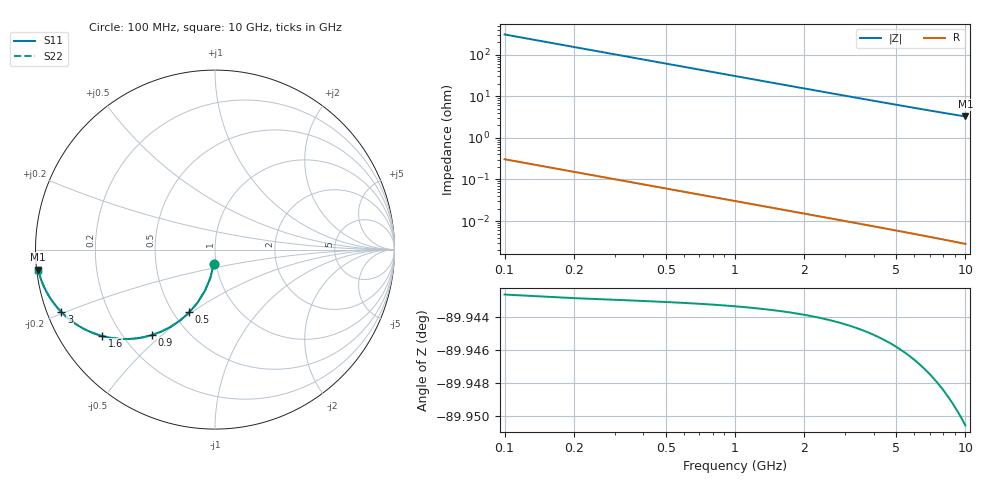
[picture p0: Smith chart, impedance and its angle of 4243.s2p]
# Hz S RI R 50.00
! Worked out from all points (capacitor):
!   100 points, 100 MHz to 10 GHz, reference 50 ohm
!   read as one part in shunt: C = 5.21 pF near 100 MHz
!   lowest |Z| = 3.27 ohm at 10 GHz (marker M1)
!   S11 on the Smith chart (normalised r, x): 100 MHz: 0.97, -0.16; 500 MHz: 0.60, -0.49; 900 MHz: 0.32, -0.46; 1.6 GHz: 0.13, -0.33; 3 GHz: 0.04, -0.20; 10 GHz: 0.00, -0.06
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1e8  -0.00671 -0.0812  0.9933 -0.0813  0.9933 -0.0813  -0.00671 -0.0812
2e8  -0.0262 -0.1591  0.9738 -0.1594  0.9738 -0.1594  -0.0262 -0.1591
3e8  -0.057 -0.231  0.943 -0.2315  0.943 -0.2315  -0.057 -0.231
4e8  -0.0968 -0.2949  0.9031 -0.2956  0.9031 -0.2956  -0.0968 -0.2949
5e8  -0.1434 -0.3495  0.8566 -0.3504  0.8566 -0.3504  -0.1434 -0.3495
6e8  -0.1941 -0.3945  0.8059 -0.3955  0.8059 -0.3955  -0.1941 -0.3945
7e8  -0.2467 -0.43  0.7533 -0.4312  0.7533 -0.4312  -0.2467 -0.43
9e8  -0.3509 -0.476  0.6491 -0.4775  0.6491 -0.4775  -0.3509 -0.476
1.2e9  -0.4895 -0.4984  0.5105 -0.5004  0.5105 -0.5004  -0.4895 -0.4984
1.4e9  -0.5659 -0.494  0.4341 -0.4963  0.4341 -0.4963  -0.5659 -0.494
1.6e9  -0.6297 -0.481  0.3703 -0.4837  0.3703 -0.4837  -0.6297 -0.481
1.8e9  -0.6825 -0.4635  0.3175 -0.4665  0.3175 -0.4665  -0.6825 -0.4635
2e9  -0.7261 -0.4438  0.2739 -0.4472  0.2739 -0.4472  -0.7261 -0.4438
2.3e9  -0.7778 -0.4133  0.2222 -0.4172  0.2222 -0.4172  -0.7778 -0.4133
2.6e9  -0.817 -0.3839  0.1829 -0.3883  0.1829 -0.3883  -0.817 -0.3839
3e9  -0.8558 -0.3482  0.1442 -0.3533  0.1442 -0.3533  -0.8558 -0.3482
3.4e9  -0.8839 -0.3169  0.1161 -0.3227  0.1161 -0.3227  -0.8839 -0.3169
4.2e9  -0.9206 -0.2662  0.0794 -0.2734  0.0794 -0.2734  -0.9206 -0.2662
5.1e9  -0.9447 -0.2236  0.0552 -0.2324  0.0552 -0.2324  -0.9447 -0.2236
6.7e9  -0.9672 -0.1715  0.0327 -0.1833  0.0327 -0.1833  -0.9672 -0.1715
8.4e9  -0.979 -0.1352  0.0209 -0.1501  0.0209 -0.1501  -0.979 -0.1352
1e10  -0.9852 -0.1109  0.0146 -0.1289  0.0146 -0.1289  -0.9852 -0.1109
